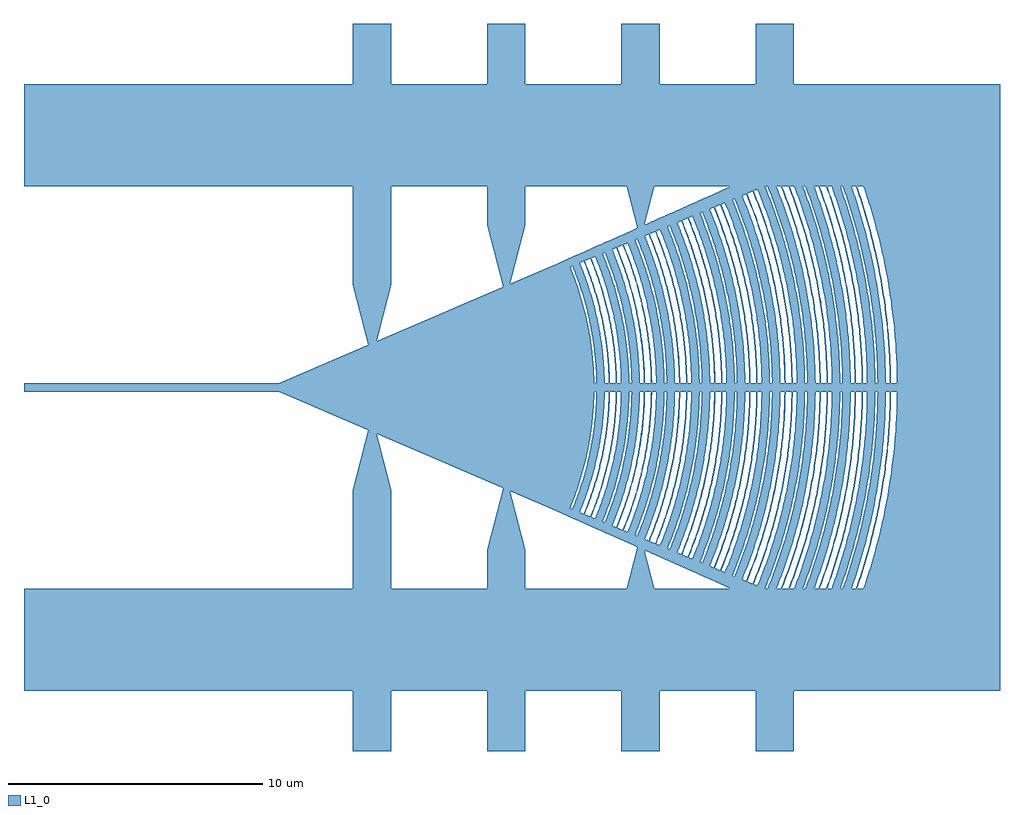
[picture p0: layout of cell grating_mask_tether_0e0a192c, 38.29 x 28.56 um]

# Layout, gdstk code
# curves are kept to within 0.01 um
import gdstk
lib = gdstk.Library(unit=1e-6, precision=1e-09)
def R(c, l, rs):  # rectangles x0, y0, x1, y1
    for r in rs: c.add(gdstk.rectangle(r[:2], r[2:], *l))
def P(c, l, *ps):  # polygons
    for p in ps: c.add(gdstk.Polygon(p, *l))
L1_0 = (1, 0)

compass_size13p289__0p3_ = lib.new_cell('compass_size13p289__0p3_6fe351eb')
R(compass_size13p289__0p3_, L1_0, [(0,0,13.289,0.35)])

rectangle_size13p289__0p = lib.new_cell('rectangle_size13p289__0p35')
rectangle_size13p289__0p.add(gdstk.Reference(compass_size13p289__0p3_, (0,0)))

boolean_9d760fdb = lib.new_cell('boolean_9d760fdb')
P(boolean_9d760fdb, L1_0, [(18.02,-7.898),(18.409,-6.944),(18.747,-5.971),(19.034,-4.982),(19.291,-3.866),(19.467,-2.852),(19.59,-1.829),(19.663,-0.687),(19.672,0.343),(19.619,1.487),(19.499,2.625),(19.291,3.866),(19.034,4.982),(18.815,5.752),(18.603,6.405),(18.327,7.158),(18.018,7.903),(17.751,7.903),(17.677,7.87),(18.105,6.829),(18.403,5.979),(18.661,5.117),(18.927,4.023),(19.094,3.138),(19.232,2.135),(19.303,1.35),(19.347,0.338),(19.334,-0.788),(19.266,-1.798),(19.129,-2.916),(18.95,-3.913),(18.719,-4.899),(18.403,-5.979),(18.105,-6.829),(17.677,-7.87),(17.751,-7.903)],
  [(18.251,-7.873),(18.43,-7.446),(18.598,-7.015),(18.756,-6.581),(18.904,-6.142),(19.075,-5.59),(19.2,-5.144),(19.341,-4.584),(19.443,-4.133),(19.555,-3.565),(19.614,-3.224),(19.699,-2.652),(19.756,-2.193),(19.811,-1.617),(19.85,-1.04),(19.872,-0.462),(19.877,0),(19.872,0.462),(19.85,1.04),(19.811,1.617),(19.756,2.193),(19.699,2.652),(19.614,3.224),(19.555,3.565),(19.443,4.133),(19.341,4.584),(19.2,5.144),(19.042,5.701),(18.868,6.252),(18.678,6.798),(18.43,7.446),(18.238,7.903),(18.194,7.903),(18.349,7.538),(18.601,6.893),(18.756,6.458),(18.936,5.91),(19.1,5.357),(19.248,4.799),(19.427,4.011),(19.536,3.445),(19.593,3.103),(19.675,2.532),(19.728,2.074),(19.771,1.614),(19.81,1.038),(19.829,0.577),(19.837,0.115),(19.832,-0.462),(19.81,-1.038),(19.789,-1.384),(19.74,-1.959),(19.675,-2.532),(19.593,-3.103),(19.536,-3.445),(19.45,-3.898),(19.354,-4.35),(19.248,-4.799),(19.131,-5.245),(19.004,-5.689),(18.83,-6.24),(18.601,-6.893),(18.349,-7.538),(18.194,-7.903),(18.238,-7.903)],
  [(18.551,-7.874),(18.686,-7.55),(18.898,-7.003),(19.093,-6.45),(19.273,-5.892),(19.405,-5.442),(19.555,-4.876),(19.637,-4.534),(19.737,-4.075),(19.847,-3.5),(19.923,-3.037),(20.003,-2.456),(20.055,-1.99),(20.096,-1.523),(20.132,-0.938),(20.148,-0.469),(20.153,0.117),(20.145,0.586),(20.126,1.055),(20.087,1.64),(20.043,2.107),(19.973,2.689),(19.887,3.268),(19.805,3.73),(19.713,4.19),(19.583,4.762),(19.467,5.216),(19.307,5.78),(19.167,6.228),(18.898,7.003),(18.686,7.55),(18.539,7.903),(18.495,7.903),(18.649,7.535),(18.86,6.989),(19.018,6.548),(19.165,6.104),(19.302,5.656),(19.458,5.093),(19.598,4.525),(19.698,4.067),(19.808,3.493),(19.866,3.146),(19.934,2.683),(19.991,2.219),(20.047,1.636),(20.086,1.053),(20.105,0.585),(20.113,0.117),(20.112,-0.234),(20.097,-0.819),(20.072,-1.286),(20.037,-1.753),(19.991,-2.219),(19.934,-2.683),(19.847,-3.262),(19.744,-3.838),(19.674,-4.182),(19.544,-4.752),(19.428,-5.206),(19.302,-5.656),(19.129,-6.215),(18.94,-6.769),(18.735,-7.317),(18.495,-7.903),(18.539,-7.903)],
  [(19.092,-7.843),(19.437,-6.947),(19.808,-5.805),(20.084,-4.76),(20.306,-3.702),(20.472,-2.635),(20.582,-1.56),(20.632,-0.6),(20.635,0.48),(20.582,1.56),(20.515,2.277),(20.44,2.873),(20.238,4.056),(19.968,5.226),(19.808,5.805),(19.555,6.606),(19.27,7.397),(19.067,7.903),(18.715,7.903),(19.05,7.059),(19.393,6.053),(19.623,5.258),(19.847,4.339),(20.027,3.411),(20.164,2.476),(20.266,1.417),(20.31,0.473),(20.307,-0.591),(20.248,-1.653),(20.118,-2.827),(19.942,-3.876),(19.712,-4.915),(19.428,-5.94),(19.05,-7.059),(18.715,-7.903),(19.067,-7.903)],
  [(19.52,-7.887),(19.866,-6.97),(20.204,-5.921),(20.486,-4.855),(20.69,-3.897),(20.849,-2.93),(20.984,-1.713),(21.041,-0.735),(21.048,0.49),(20.984,1.713),(20.849,2.93),(20.667,4.017),(20.398,5.212),(20.204,5.921),(19.985,6.622),(19.742,7.316),(19.514,7.903),(19.162,7.903),(19.519,6.976),(19.823,6.06),(20.113,5.015),(20.3,4.192),(20.473,3.243),(20.602,2.287),(20.678,1.446),(20.723,0.482),(20.716,-0.723),(20.66,-1.686),(20.527,-2.885),(20.37,-3.837),(20.113,-5.015),(19.892,-5.829),(19.519,-6.976),(19.162,-7.903),(19.514,-7.903)],
  [(19.754,-7.848),(19.888,-7.502),(20.057,-7.037),(20.253,-6.451),(20.398,-5.978),(20.563,-5.382),(20.683,-4.902),(20.791,-4.419),(20.911,-3.813),(21.013,-3.203),(21.082,-2.713),(21.126,-2.345),(21.175,-1.852),(21.212,-1.359),(21.238,-0.865),(21.25,-0.495),(21.255,0.124),(21.25,0.495),(21.226,1.112),(21.195,1.606),(21.152,2.099),(21.082,2.713),(21.013,3.203),(20.933,3.691),(20.841,4.177),(20.711,4.781),(20.594,5.262),(20.466,5.74),(20.327,6.214),(20.177,6.686),(20.057,7.037),(19.888,7.502),(19.731,7.903),(19.688,7.903),(19.85,7.488),(20.06,6.907),(20.252,6.321),(20.394,5.848),(20.524,5.372),(20.644,4.893),(20.726,4.532),(20.826,4.048),(20.935,3.441),(21.009,2.953),(21.072,2.463),(21.112,2.095),(21.164,1.48),(21.193,0.987),(21.207,0.617),(21.215,0.123),(21.21,-0.494),(21.193,-0.987),(21.164,-1.48),(21.124,-1.972),(21.072,-2.463),(21.009,-2.953),(20.935,-3.441),(20.849,-3.927),(20.752,-4.411),(20.644,-4.893),(20.524,-5.372),(20.394,-5.848),(20.252,-6.321),(20.06,-6.907),(19.85,-7.488),(19.688,-7.903),(19.731,-7.903)],
  [(20.056,-7.833),(20.19,-7.482),(20.399,-6.892),(20.554,-6.415),(20.698,-5.935),(20.862,-5.331),(20.98,-4.844),(21.087,-4.354),(21.183,-3.862),(21.267,-3.368),(21.356,-2.748),(21.401,-2.375),(21.45,-1.877),(21.488,-1.377),(21.509,-1.002),(21.529,-0.376),(21.532,0.125),(21.523,0.626),(21.509,1.002),(21.47,1.627),(21.427,2.126),(21.356,2.748),(21.305,3.121),(21.205,3.739),(21.112,4.231),(21.008,4.721),(20.862,5.331),(20.732,5.815),(20.591,6.295),(20.359,7.01),(20.102,7.716),(20.029,7.903),(19.986,7.903),(20.153,7.468),(20.321,6.997),(20.516,6.403),(20.625,6.044),(20.792,5.442),(20.913,4.956),(20.996,4.591),(21.097,4.101),(21.187,3.609),(21.247,3.239),(21.332,2.619),(21.387,2.122),(21.421,1.749),(21.456,1.25),(21.479,0.75),(21.492,0.125),(21.489,-0.375),(21.479,-0.75),(21.456,-1.25),(21.421,-1.749),(21.361,-2.371),(21.3,-2.867),(21.247,-3.239),(21.143,-3.855),(21.073,-4.224),(20.969,-4.713),(20.823,-5.321),(20.727,-5.683),(20.553,-6.284),(20.401,-6.76),(20.196,-7.351),(19.986,-7.903),(20.029,-7.903)],
  [(20.557,-7.891),(20.902,-6.926),(21.201,-5.946),(21.455,-4.953),(21.685,-3.824),(21.839,-2.811),(21.956,-1.664),(22.01,-0.64),(22.016,0.384),(21.966,1.536),(21.839,2.811),(21.639,4.076),(21.396,5.203),(21.201,5.946),(20.981,6.682),(20.552,7.903),(20.203,7.903),(20.471,7.182),(20.783,6.222),(21.05,5.248),(21.271,4.263),(21.427,3.394),(21.562,2.393),(21.641,1.513),(21.691,0.379),(21.681,-0.757),(21.622,-1.765),(21.5,-2.894),(21.342,-3.891),(21.138,-4.88),(20.854,-5.98),(20.553,-6.943),(20.203,-7.903),(20.552,-7.903)],
  [(21.034,-7.795),(21.374,-6.808),(21.668,-5.806),(21.942,-4.664),(22.135,-3.638),(22.265,-2.734),(22.368,-1.695),(22.426,-0.522),(22.426,0.522),(22.358,1.825),(22.231,2.993),(22.02,4.28),(21.797,5.3),(21.452,6.559),(21.21,7.303),(20.993,7.903),(20.646,7.903),(20.985,6.954),(21.286,5.97),(21.511,5.098),(21.701,4.218),(21.892,3.077),(21.986,2.311),(22.062,1.414),(22.101,0.514),(22.101,-0.514),(22.044,-1.67),(21.942,-2.694),(21.793,-3.712),(21.597,-4.722),(21.32,-5.846),(20.985,-6.954),(20.646,-7.903),(20.993,-7.903)],
  [(21.224,-7.865),(21.401,-7.369),(21.567,-6.869),(21.721,-6.365),(21.863,-5.858),(21.962,-5.476),(22.112,-4.835),(22.193,-4.448),(22.313,-3.801),(22.376,-3.411),(22.449,-2.889),(22.51,-2.366),(22.559,-1.842),(22.596,-1.316),(22.615,-0.922),(22.631,-0.395),(22.634,0.132),(22.625,0.658),(22.603,1.185),(22.579,1.579),(22.536,2.104),(22.481,2.628),(22.414,3.15),(22.313,3.801),(22.243,4.189),(22.112,4.835),(22.024,5.22),(21.863,5.858),(21.721,6.365),(21.567,6.869),(21.314,7.617),(21.209,7.903),(21.167,7.903),(21.32,7.48),(21.488,6.982),(21.645,6.48),(21.79,5.975),(21.891,5.593),(22.015,5.083),(22.127,4.569),(22.228,4.053),(22.356,3.275),(22.426,2.754),(22.484,2.231),(22.539,1.576),(22.57,1.051),(22.585,0.657),(22.594,0.131),(22.591,-0.394),(22.57,-1.051),(22.548,-1.445),(22.508,-1.969),(22.456,-2.492),(22.392,-3.014),(22.316,-3.534),(22.251,-3.923),(22.179,-4.311),(22.073,-4.826),(21.985,-5.211),(21.858,-5.721),(21.719,-6.228),(21.568,-6.731),(21.363,-7.356),(21.167,-7.903),(21.209,-7.903)],
  [(21.529,-7.836),(21.705,-7.333),(21.83,-6.953),(21.986,-6.443),(22.13,-5.93),(22.262,-5.413),(22.353,-5.024),(22.464,-4.502),(22.539,-4.11),(22.649,-3.452),(22.706,-3.057),(22.756,-2.66),(22.811,-2.13),(22.855,-1.598),(22.886,-1.066),(22.901,-0.666),(22.911,0),(22.901,0.666),(22.886,1.066),(22.855,1.598),(22.811,2.13),(22.756,2.66),(22.706,3.057),(22.607,3.716),(22.515,4.241),(22.41,4.763),(22.293,5.283),(22.164,5.801),(22.023,6.315),(21.83,6.953),(21.619,7.585),(21.504,7.903),(21.461,7.903),(21.581,7.572),(21.792,6.941),(21.91,6.559),(22.056,6.048),(22.191,5.533),(22.314,5.015),(22.425,4.494),(22.5,4.102),(22.568,3.709),(22.648,3.183),(22.716,2.655),(22.759,2.258),(22.815,1.595),(22.846,1.064),(22.861,0.665),(22.87,0.133),(22.867,-0.399),(22.852,-0.931),(22.824,-1.463),(22.795,-1.861),(22.759,-2.258),(22.7,-2.787),(22.629,-3.315),(22.546,-3.84),(22.45,-4.364),(22.371,-4.755),(22.191,-5.533),(22.021,-6.176),(21.832,-6.814),(21.71,-7.194),(21.461,-7.903),(21.504,-7.903)],
  [(22.033,-7.874),(22.415,-6.711),(22.703,-5.66),(22.914,-4.731),(23.11,-3.66),(23.255,-2.581),(23.35,-1.496),(23.394,-0.408),(23.388,0.68),(23.309,2.039),(23.189,3.122),(23.018,4.197),(22.767,5.396),(22.415,6.711),(22.022,7.903),(21.677,7.903),(22.025,6.874),(22.251,6.101),(22.451,5.321),(22.649,4.402),(22.789,3.609),(22.932,2.545),(23.007,1.743),(23.063,0.671),(23.069,-0.403),(23.025,-1.475),(22.932,-2.545),(22.789,-3.609),(22.596,-4.666),(22.321,-5.842),(22.025,-6.874),(21.677,-7.903),(22.022,-7.903)],
  [(22.468,-7.883),(22.85,-6.696),(23.103,-5.76),(23.319,-4.815),(23.539,-3.588),(23.68,-2.489),(23.762,-1.523),(23.807,-0.416),(23.804,0.554),(23.753,1.661),(23.616,3.039),(23.449,4.135),(23.319,4.815),(23.169,5.491),(22.85,6.696),(22.46,7.903),(22.116,7.903),(22.419,6.997),(22.685,6.078),(22.914,5.15),(23.105,4.213),(23.276,3.133),(23.371,2.319),(23.446,1.366),(23.479,0.546),(23.479,-0.546),(23.428,-1.638),(23.327,-2.727),(23.175,-3.809),(22.972,-4.883),(22.72,-5.946),(22.419,-6.997),(22.116,-7.903),(22.46,-7.903)],
  [(22.704,-7.818),(22.88,-7.287),(23.004,-6.887),(23.158,-6.35),(23.265,-5.945),(23.397,-5.402),(23.488,-4.993),(23.598,-4.445),(23.672,-4.032),(23.759,-3.48),(23.834,-2.926),(23.881,-2.51),(23.933,-1.954),(23.972,-1.396),(23.993,-0.978),(24.009,-0.419),(24.013,0),(24.003,0.698),(23.987,1.117),(23.954,1.675),(23.909,2.232),(23.866,2.649),(23.798,3.203),(23.717,3.756),(23.648,4.17),(23.544,4.719),(23.428,5.266),(23.333,5.674),(23.158,6.35),(23.004,6.887),(22.75,7.685),(22.675,7.903),(22.632,7.903),(22.756,7.541),(22.966,6.875),(23.192,6.07),(23.326,5.529),(23.449,4.984),(23.532,4.574),(23.632,4.025),(23.699,3.612),(23.777,3.06),(23.856,2.367),(23.893,1.95),(23.932,1.394),(23.953,0.976),(23.969,0.418),(23.973,0),(23.969,-0.418),(23.953,-0.976),(23.904,-1.811),(23.856,-2.367),(23.811,-2.783),(23.777,-3.06),(23.678,-3.75),(23.584,-4.3),(23.505,-4.711),(23.389,-5.257),(23.294,-5.664),(23.156,-6.205),(22.966,-6.875),(22.756,-7.541),(22.632,-7.903),(22.675,-7.903)],
  [(22.928,7.895),(23.23,6.955),(23.529,5.866),(23.748,4.904),(23.928,3.933),(24.051,3.095),(24.169,1.973),(24.229,0.987),(24.249,-0.141),(24.223,-1.128),(24.157,-2.113),(24.051,-3.095),(23.905,-4.072),(23.719,-5.042),(23.459,-6.14),(23.19,-7.09),(22.925,-7.903),(24.289,-7.903),(24.289,7.903)],
  [(17.642,-7.732),(17.983,-6.903),(18.354,-5.846),(18.606,-4.985),(18.864,-3.895),(19.059,-2.792),(19.168,-1.902),(19.236,-1.008),(19.262,0.112),(19.236,1.008),(19.132,2.236),(19.007,3.124),(18.841,4.005),(18.606,4.985),(18.354,5.846),(17.983,6.903),(17.597,7.834),(17.3,7.702),(17.679,6.786),(17.976,5.956),(18.263,5.008),(18.5,4.045),(18.668,3.18),(18.809,2.198),(18.905,1.101),(18.937,0.11),(18.921,-0.771),(18.855,-1.76),(18.721,-2.853),(18.546,-3.829),(18.32,-4.795),(18.044,-5.747),(17.679,-6.786),(17.3,-7.702),(17.597,-7.834)],
  [(17.196,-7.536),(17.408,-7.033),(17.567,-6.626),(17.68,-6.319),(17.856,-5.802),(18.017,-5.28),(18.163,-4.754),(18.269,-4.33),(18.387,-3.797),(18.47,-3.368),(18.544,-2.937),(18.607,-2.505),(18.672,-1.963),(18.713,-1.528),(18.749,-0.983),(18.77,-0.437),(18.775,0),(18.77,0.437),(18.749,0.983),(18.713,1.528),(18.672,1.963),(18.607,2.505),(18.544,2.937),(18.47,3.368),(18.387,3.797),(18.269,4.33),(18.163,4.754),(18.017,5.28),(17.856,5.802),(17.68,6.319),(17.528,6.728),(17.325,7.235),(17.152,7.636),(17.115,7.62),(17.288,7.22),(17.529,6.612),(17.714,6.099),(17.884,5.582),(18.039,5.059),(18.152,4.638),(18.279,4.108),(18.348,3.788),(18.431,3.36),(18.521,2.823),(18.582,2.391),(18.632,1.958),(18.673,1.524),(18.709,0.98),(18.73,0.436),(18.735,0),(18.73,-0.436),(18.709,-0.98),(18.673,-1.524),(18.632,-1.958),(18.582,-2.391),(18.521,-2.823),(18.431,-3.36),(18.348,-3.788),(18.279,-4.108),(18.152,-4.638),(18.039,-5.059),(17.884,-5.582),(17.714,-6.099),(17.529,-6.612),(17.288,-7.22),(17.115,-7.62),(17.152,-7.636)],
  [(16.943,-7.426),(17.111,-7.029),(17.308,-6.529),(17.491,-6.022),(17.626,-5.614),(17.782,-5.099),(17.896,-4.684),(18,-4.266),(18.138,-3.635),(18.236,-3.106),(18.303,-2.681),(18.347,-2.361),(18.408,-1.826),(18.453,-1.29),(18.478,-0.861),(18.493,-0.43),(18.498,0.108),(18.487,0.646),(18.473,0.968),(18.437,1.505),(18.397,1.934),(18.333,2.468),(18.271,2.894),(18.179,3.424),(18.094,3.846),(18,4.266),(17.896,4.684),(17.752,5.202),(17.593,5.716),(17.419,6.226),(17.27,6.629),(17.07,7.129),(16.899,7.524),(16.863,7.508),(17.074,7.014),(17.271,6.514),(17.453,6.009),(17.588,5.602),(17.773,4.985),(17.857,4.674),(17.961,4.257),(18.055,3.838),(18.159,3.311),(18.231,2.888),(18.279,2.569),(18.346,2.036),(18.388,1.609),(18.421,1.18),(18.451,0.537),(18.458,0.107),(18.456,-0.322),(18.443,-0.752),(18.421,-1.18),(18.368,-1.823),(18.321,-2.25),(18.248,-2.781),(18.159,-3.311),(18.077,-3.733),(17.961,-4.257),(17.884,-4.57),(17.773,-4.985),(17.652,-5.397),(17.453,-6.009),(17.271,-6.514),(17.074,-7.014),(16.863,-7.508),(16.899,-7.524)],
  [(16.757,-7.344),(17.081,-6.557),(17.401,-5.654),(17.7,-4.633),(17.918,-3.7),(18.071,-2.862),(18.207,-1.807),(18.281,-0.745),(18.296,0.106),(18.271,0.957),(18.196,1.912),(18.071,2.862),(17.874,3.908),(17.673,4.735),(17.401,5.654),(17.043,6.656),(16.714,7.442),(16.417,7.31),(16.74,6.538),(17.059,5.653),(17.359,4.651),(17.556,3.839),(17.716,3.018),(17.85,2.086),(17.941,1.045),(17.971,0.105),(17.952,-0.836),(17.873,-1.878),(17.75,-2.811),(17.6,-3.634),(17.359,-4.651),(17.059,-5.653),(16.74,-6.538),(16.417,-7.31),(16.714,-7.442)],
  [(16.379,-7.179),(16.733,-6.312),(17.04,-5.427),(17.301,-4.528),(17.514,-3.616),(17.695,-2.592),(17.796,-1.766),(17.869,-0.728),(17.883,0.104),(17.847,1.144),(17.774,1.973),(17.647,2.9),(17.471,3.82),(17.247,4.729),(16.976,5.625),(16.658,6.506),(16.337,7.274),(16.04,7.142),(16.392,6.292),(16.699,5.426),(16.96,4.544),(17.175,3.651),(17.326,2.848),(17.451,1.937),(17.529,1.021),(17.558,0.102),(17.529,-1.021),(17.462,-1.835),(17.358,-2.646),(17.175,-3.651),(16.96,-4.544),(16.699,-5.426),(16.392,-6.292),(16.04,-7.142),(16.337,-7.274)],
  [(15.933,-6.983),(16.053,-6.704),(16.277,-6.14),(16.448,-5.664),(16.576,-5.279),(16.75,-4.698),(16.855,-4.307),(16.973,-3.815),(17.037,-3.518),(17.132,-3.021),(17.198,-2.621),(17.267,-2.12),(17.311,-1.718),(17.354,-1.213),(17.382,-0.708),(17.395,-0.202),(17.396,0.101),(17.386,0.607),(17.361,1.113),(17.321,1.617),(17.279,2.02),(17.213,2.521),(17.166,2.821),(17.096,3.22),(16.995,3.716),(16.904,4.11),(16.777,4.6),(16.694,4.892),(16.545,5.376),(16.381,5.855),(16.241,6.234),(16.053,6.704),(15.892,7.076),(15.856,7.059),(16.016,6.689),(16.275,6.031),(16.411,5.651),(16.568,5.171),(16.684,4.784),(16.791,4.394),(16.888,4.003),(16.998,3.51),(17.075,3.113),(17.158,2.615),(17.227,2.115),(17.261,1.814),(17.299,1.412),(17.327,1.009),(17.346,0.606),(17.356,0.101),(17.354,-0.303),(17.342,-0.707),(17.321,-1.11),(17.281,-1.613),(17.239,-2.015),(17.173,-2.516),(17.11,-2.914),(17.018,-3.411),(16.934,-3.806),(16.841,-4.199),(16.738,-4.59),(16.598,-5.074),(16.411,-5.651),(16.275,-6.031),(16.016,-6.689),(15.856,-7.059),(15.892,-7.076)],
  [(15.68,-6.872),(15.836,-6.505),(15.983,-6.135),(16.121,-5.762),(16.282,-5.29),(16.429,-4.815),(16.562,-4.335),(16.635,-4.045),(16.746,-3.559),(16.824,-3.169),(16.909,-2.678),(16.967,-2.284),(17.026,-1.79),(17.055,-1.492),(17.091,-0.995),(17.115,-0.398),(17.12,0),(17.115,0.398),(17.091,0.995),(17.055,1.492),(17.026,1.79),(16.967,2.284),(16.909,2.678),(16.824,3.169),(16.746,3.559),(16.681,3.851),(16.562,4.335),(16.429,4.815),(16.282,5.29),(16.121,5.762),(15.983,6.135),(15.836,6.505),(15.64,6.963),(15.603,6.947),(15.836,6.398),(15.981,6.028),(16.117,5.655),(16.304,5.089),(16.418,4.708),(16.523,4.325),(16.642,3.842),(16.727,3.454),(16.803,3.064),(16.885,2.574),(16.94,2.18),(16.986,1.785),(17.015,1.489),(17.051,0.993),(17.073,0.497),(17.08,0),(17.073,-0.497),(17.061,-0.795),(17.045,-1.092),(17.006,-1.588),(16.94,-2.18),(16.885,-2.574),(16.803,-3.064),(16.747,-3.356),(16.686,-3.648),(16.572,-4.132),(16.472,-4.517),(16.362,-4.899),(16.213,-5.372),(16.05,-5.842),(15.836,-6.398),(15.603,-6.947),(15.64,-6.963)],
  [(15.495,-6.791),(15.794,-6.063),(16.09,-5.228),(16.341,-4.379),(16.548,-3.517),(16.694,-2.744),(16.825,-1.768),(16.889,-0.984),(16.918,0),(16.889,0.984),(16.825,1.768),(16.694,2.744),(16.548,3.517),(16.341,4.379),(16.09,5.228),(15.794,6.063),(15.455,6.881),(15.158,6.749),(15.525,5.856),(15.81,5.035),(16.052,4.201),(16.23,3.45),(16.373,2.691),(16.502,1.734),(16.57,0.868),(16.593,0),(16.57,-0.868),(16.502,-1.734),(16.373,-2.691),(16.23,-3.45),(16.052,-4.201),(15.81,-5.035),(15.525,-5.856),(15.158,-6.749),(15.455,-6.881)],
  [(15.117,-6.625),(15.443,-5.825),(15.726,-5.009),(15.967,-4.179),(16.164,-3.338),(16.316,-2.487),(16.424,-1.63),(16.487,-0.768),(16.505,0.096),(16.477,0.96),(16.404,1.821),(16.286,2.677),(16.124,3.525),(15.892,4.457),(15.667,5.192),(15.374,6.004),(15.078,6.713),(14.781,6.581),(15.105,5.798),(15.388,5),(15.604,4.278),(15.826,3.364),(15.995,2.438),(16.091,1.691),(16.162,0.753),(16.18,0),(16.162,-0.753),(16.091,-1.691),(15.995,-2.438),(15.826,-3.364),(15.604,-4.278),(15.388,-5),(15.105,-5.798),(14.781,-6.581),(15.078,-6.713)],
  [(14.67,-6.43),(14.816,-6.087),(14.954,-5.74),(15.083,-5.391),(15.234,-4.95),(15.345,-4.594),(15.496,-4.056),(15.586,-3.694),(15.687,-3.239),(15.758,-2.873),(15.835,-2.414),(15.887,-2.045),(15.93,-1.674),(15.972,-1.21),(15.996,-0.838),(16.011,-0.466),(16.018,0),(16.011,0.466),(15.996,0.838),(15.972,1.21),(15.93,1.674),(15.887,2.045),(15.835,2.414),(15.758,2.873),(15.687,3.239),(15.586,3.694),(15.496,4.056),(15.345,4.594),(15.234,4.95),(15.083,5.391),(14.954,5.74),(14.816,6.087),(14.633,6.515),(14.596,6.499),(14.744,6.157),(14.982,5.552),(15.077,5.29),(15.252,4.76),(15.359,4.404),(15.457,4.045),(15.589,3.504),(15.666,3.14),(15.751,2.683),(15.809,2.316),(15.9,1.578),(15.939,1.115),(15.956,0.836),(15.971,0.465),(15.978,0),(15.971,-0.465),(15.956,-0.836),(15.939,-1.115),(15.9,-1.578),(15.809,-2.316),(15.751,-2.683),(15.666,-3.14),(15.589,-3.504),(15.503,-3.865),(15.333,-4.493),(15.167,-5.026),(15.014,-5.465),(14.849,-5.899),(14.596,-6.499),(14.633,-6.515)],
  [(14.417,-6.319),(14.595,-5.897),(14.696,-5.641),(14.884,-5.125),(14.999,-4.777),(15.106,-4.427),(15.205,-4.074),(15.317,-3.63),(15.416,-3.183),(15.533,-2.553),(15.588,-2.191),(15.655,-1.645),(15.689,-1.281),(15.715,-0.915),(15.737,-0.366),(15.741,0.092),(15.737,0.366),(15.715,0.915),(15.689,1.281),(15.635,1.827),(15.588,2.191),(15.518,2.643),(15.452,3.004),(15.378,3.362),(15.317,3.63),(15.181,4.163),(15.08,4.515),(14.971,4.864),(14.823,5.298),(14.663,5.727),(14.38,6.403),(14.344,6.386),(14.558,5.882),(14.723,5.456),(14.846,5.112),(15.015,4.591),(15.118,4.24),(15.235,3.798),(15.377,3.175),(15.463,2.727),(15.522,2.366),(15.573,2.004),(15.615,1.641),(15.649,1.277),(15.68,0.822),(15.692,0.548),(15.701,0.091),(15.699,-0.274),(15.684,-0.731),(15.663,-1.095),(15.633,-1.459),(15.573,-2.004),(15.522,-2.366),(15.463,-2.727),(15.395,-3.086),(15.257,-3.71),(15.166,-4.064),(15.042,-4.503),(14.904,-4.939),(14.723,-5.456),(14.558,-5.882),(14.344,-6.386),(14.38,-6.403)],
  [(14.232,-6.238),(14.507,-5.569),(14.779,-4.802),(15.01,-4.022),(15.218,-3.142),(15.362,-2.341),(15.472,-1.444),(15.53,-0.542),(15.539,0.09),(15.513,0.904),(15.454,1.624),(15.348,2.431),(15.199,3.231),(15.01,4.022),(14.779,4.802),(14.507,5.569),(14.196,6.32),(13.899,6.188),(14.171,5.535),(14.442,4.785),(14.696,3.938),(14.863,3.25),(15.013,2.467),(15.131,1.59),(15.193,0.796),(15.214,0.089),(15.193,-0.796),(15.131,-1.59),(15.027,-2.38),(14.9,-3.077),(14.696,-3.938),(14.442,-4.785),(14.171,-5.535),(13.899,-6.188),(14.196,-6.32)],
  [(13.854,-6.072),(14.153,-5.339),(14.413,-4.591),(14.611,-3.915),(14.814,-3.059),(14.94,-2.366),(15.061,-1.406),(15.114,-0.616),(15.126,0.088),(15.101,0.88),(15.034,1.669),(14.926,2.453),(14.796,3.145),(14.611,3.915),(14.413,4.591),(14.122,5.421),(13.818,6.152),(13.521,6.02),(13.849,5.224),(14.077,4.574),(14.297,3.831),(14.478,3.077),(14.619,2.315),(14.711,1.633),(14.771,0.947),(14.801,0.086),(14.781,-0.775),(14.729,-1.461),(14.619,-2.315),(14.478,-3.077),(14.297,-3.831),(14.077,-4.574),(13.849,-5.224),(13.521,-6.02),(13.818,-6.152)],
  [(13.408,-5.876),(13.541,-5.563),(13.667,-5.246),(13.785,-4.927),(13.949,-4.443),(14.072,-4.035),(14.162,-3.706),(14.264,-3.293),(14.337,-2.96),(14.417,-2.542),(14.472,-2.206),(14.53,-1.784),(14.576,-1.361),(14.609,-0.936),(14.627,-0.596),(14.637,-0.255),(14.639,0.085),(14.633,0.426),(14.619,0.766),(14.597,1.106),(14.55,1.615),(14.459,2.29),(14.386,2.71),(14.319,3.044),(14.225,3.459),(14.14,3.789),(14.024,4.199),(13.923,4.524),(13.785,4.927),(13.667,5.246),(13.541,5.563),(13.373,5.954),(13.337,5.938),(13.504,5.548),(13.66,5.152),(13.804,4.753),(13.936,4.349),(14.057,3.942),(14.145,3.614),(14.28,3.035),(14.347,2.702),(14.406,2.368),(14.457,2.032),(14.51,1.61),(14.551,1.188),(14.579,0.764),(14.593,0.425),(14.599,0.085),(14.597,-0.255),(14.587,-0.594),(14.569,-0.934),(14.536,-1.357),(14.49,-1.779),(14.445,-2.116),(14.331,-2.786),(14.186,-3.449),(14.102,-3.778),(13.986,-4.187),(13.804,-4.753),(13.66,-5.152),(13.504,-5.548),(13.337,-5.938),(13.373,-5.954)],
  [(13.155,-5.765),(13.317,-5.38),(13.468,-4.991),(13.685,-4.359),(13.783,-4.039),(13.895,-3.637),(14.013,-3.149),(14.083,-2.823),(14.159,-2.412),(14.223,-1.999),(14.275,-1.584),(14.308,-1.252),(14.351,-0.585),(14.362,-0.167),(14.362,0.167),(14.351,0.585),(14.333,0.919),(14.308,1.252),(14.275,1.584),(14.186,2.247),(14.13,2.576),(14.049,2.986),(13.895,3.637),(13.783,4.039),(13.66,4.438),(13.553,4.755),(13.409,5.147),(13.285,5.458),(13.121,5.842),(13.084,5.825),(13.28,5.365),(13.401,5.055),(13.596,4.505),(13.697,4.187),(13.877,3.546),(14.027,2.896),(14.105,2.487),(14.159,2.158),(14.216,1.745),(14.253,1.414),(14.303,0.75),(14.319,0.333),(14.323,0),(14.319,-0.333),(14.303,-0.75),(14.253,-1.414),(14.216,-1.745),(14.159,-2.158),(14.105,-2.487),(14.027,-2.896),(13.877,-3.546),(13.697,-4.187),(13.596,-4.505),(13.401,-5.055),(13.28,-5.365),(13.084,-5.825),(13.121,-5.842)],
  [(12.969,-5.684),(13.22,-5.075),(13.493,-4.297),(13.72,-3.506),(13.868,-2.864),(14.023,-1.971),(14.107,-1.234),(14.149,-0.577),(14.16,0.165),(14.126,0.988),(14.065,1.644),(13.973,2.296),(13.834,3.025),(13.678,3.665),(13.442,4.454),(13.22,5.075),(12.936,5.76),(12.639,5.627),(12.858,5.108),(13.133,4.352),(13.343,3.658),(13.499,3.034),(13.639,2.323),(13.742,1.606),(13.812,0.804),(13.835,0.081),(13.824,-0.563),(13.76,-1.446),(13.665,-2.164),(13.533,-2.876),(13.385,-3.503),(13.183,-4.199),(12.945,-4.883),(12.639,-5.627),(12.936,-5.76)],
  [(12.591,-5.519),(12.863,-4.852),(13.075,-4.248),(13.3,-3.481),(13.464,-2.78),(13.566,-2.23),(13.664,-1.517),(13.729,-0.72),(13.748,0),(13.729,0.72),(13.664,1.517),(13.566,2.23),(13.464,2.78),(13.3,3.481),(13.075,4.248),(12.806,5.001),(12.559,5.592),(12.262,5.459),(12.503,4.883),(12.766,4.148),(12.945,3.549),(13.113,2.867),(13.245,2.177),(13.332,1.558),(13.4,0.78),(13.422,0.078),(13.408,-0.625),(13.357,-1.325),(13.269,-2.023),(13.129,-2.791),(12.945,-3.549),(12.766,-4.148),(12.503,-4.883),(12.262,-5.459),(12.559,-5.592)],
  [(12.145,-5.323),(12.38,-4.752),(12.513,-4.39),(12.635,-4.024),(12.747,-3.655),(12.848,-3.283),(12.938,-2.908),(13.002,-2.606),(13.109,-1.998),(13.152,-1.693),(13.196,-1.309),(13.228,-0.925),(13.246,-0.617),(13.26,-0.154),(13.26,0.154),(13.238,0.771),(13.21,1.156),(13.171,1.539),(13.085,2.151),(13.017,2.53),(12.938,2.908),(12.848,3.283),(12.768,3.581),(12.681,3.877),(12.563,4.244),(12.461,4.535),(12.324,4.896),(12.114,5.394),(12.077,5.377),(12.229,5.024),(12.397,4.594),(12.525,4.231),(12.643,3.865),(12.75,3.496),(12.828,3.198),(12.963,2.598),(13.02,2.296),(13.081,1.916),(13.156,1.305),(13.198,0.769),(13.215,0.384),(13.22,0.077),(13.217,-0.308),(13.206,-0.615),(13.183,-0.999),(13.156,-1.305),(13.081,-1.916),(12.978,-2.523),(12.899,-2.899),(12.828,-3.198),(12.665,-3.792),(12.525,-4.231),(12.397,-4.594),(12.229,-5.024),(12.077,-5.377),(12.114,-5.394)],
  [(11.892,-5.212),(12.122,-4.653),(12.277,-4.227),(12.372,-3.94),(12.542,-3.36),(12.634,-2.994),(12.716,-2.626),(12.787,-2.255),(12.836,-1.957),(12.878,-1.657),(12.928,-1.207),(12.97,-0.604),(12.982,-0.227),(12.984,0.075),(12.976,0.453),(12.962,0.755),(12.913,1.357),(12.836,1.957),(12.787,2.255),(12.716,2.626),(12.634,2.994),(12.542,3.36),(12.439,3.724),(12.349,4.012),(12.252,4.298),(12.122,4.653),(11.981,5.004),(11.861,5.281),(11.825,5.265),(11.973,4.919),(12.084,4.639),(12.239,4.214),(12.334,3.928),(12.503,3.35),(12.595,2.985),(12.677,2.618),(12.785,2.025),(12.838,1.652),(12.881,1.278),(12.907,0.978),(12.93,0.602),(12.944,0.075),(12.942,-0.226),(12.93,-0.602),(12.907,-0.978),(12.881,-1.278),(12.838,-1.652),(12.785,-2.025),(12.692,-2.544),(12.629,-2.838),(12.541,-3.204),(12.4,-3.712),(12.263,-4.143),(12.137,-4.498),(11.973,-4.919),(11.825,-5.265),(11.861,-5.281)],
  [(11.707,-5.131),(11.933,-4.581),(12.179,-3.879),(12.327,-3.38),(12.503,-2.658),(12.625,-1.999),(12.712,-1.336),(12.768,-0.595),(12.782,0.074),(12.756,0.817),(12.712,1.336),(12.625,1.999),(12.503,2.658),(12.327,3.38),(12.156,3.95),(11.933,4.581),(11.677,5.199),(11.38,5.067),(11.603,4.532),(11.847,3.849),(12.051,3.154),(12.169,2.661),(12.292,2.02),(12.389,1.302),(12.44,0.652),(12.457,0),(12.44,-0.652),(12.389,-1.302),(12.292,-2.02),(12.169,-2.661),(12.051,-3.154),(11.847,-3.849),(11.603,-4.532),(11.38,-5.067),(11.677,-5.199)],
  [(-10,-0.175),(0,-0.175),(11.3,-5.031),(11.548,-4.433),(11.786,-3.754),(11.966,-3.132),(12.128,-2.431),(12.249,-1.721),(12.322,-1.078),(12.362,-0.432),(12.366,0.288),(12.334,0.935),(12.277,1.507),(12.181,2.148),(12.084,2.642),(11.929,3.271),(11.764,3.822),(11.548,4.433),(11.3,5.031),(0,0.175),(-10,0.175)])

ring_6d62d799_transform_ = lib.new_cell('ring_6d62d799_transform_c9098a48')
P(ring_6d62d799_transform_, L1_0, [(22.189,-9.191),(0,0),(22.189,-9.879)],
  [(22.189,-9.879),(22.44,-9.296),(22.189,-9.191)])

c_ring_6d62d799_transform_ = lib.new_cell('ring_6d62d799_transform_c3718874')
P(c_ring_6d62d799_transform_, L1_0, [(22.189,9.191),(22.189,9.879),(0,0)],
  [(22.44,9.295),(22.189,9.879),(22.189,9.191)])

skeleton_31b32c59 = lib.new_cell('skeleton_31b32c59')
skeleton_31b32c59.add(gdstk.Reference(ring_6d62d799_transform_, (0,0)))
skeleton_31b32c59.add(gdstk.Reference(c_ring_6d62d799_transform_, (0,0)))

c__tether_straight_length_ = lib.new_cell('_tether_straight_length_550ba175')
R(c__tether_straight_length_, L1_0, [(2.904,4.027,4.404,14.279)])
P(c__tether_straight_length_, L1_0, [(3.754,1.527),(4.404,4.027),(2.904,4.027),(3.554,1.527)])

c__tether_straight_length__ = lib.new_cell('_tether_straight_length_b4acca8e')
R(c__tether_straight_length__, L1_0, [(2.904,-14.279,4.404,-4.027)])
P(c__tether_straight_length__, L1_0, [(3.554,-1.527),(2.904,-4.027),(4.404,-4.027),(3.754,-1.527)])

c__tether_straight_length___ = lib.new_cell('_tether_straight_length_8cd188f2')
R(c__tether_straight_length___, L1_0, [(8.169,6.371,9.669,14.279)])
P(c__tether_straight_length___, L1_0, [(9.019,3.871),(9.669,6.371),(8.169,6.371),(8.819,3.871)])

c__tether_straight_length____ = lib.new_cell('_tether_straight_length_2d920b27')
R(c__tether_straight_length____, L1_0, [(8.169,-14.279,9.669,-6.371)])
P(c__tether_straight_length____, L1_0, [(8.819,-3.871),(8.169,-6.371),(9.669,-6.371),(9.019,-3.871)])

c__tether_straight_length_____ = lib.new_cell('_tether_straight_length_42ef60fd')
R(c__tether_straight_length_____, L1_0, [(13.434,8.715,14.934,14.279)])
P(c__tether_straight_length_____, L1_0, [(14.284,6.215),(14.934,8.715),(13.434,8.715),(14.084,6.215)])

c__tether_straight_length______ = lib.new_cell('_tether_straight_length_77878be3')
R(c__tether_straight_length______, L1_0, [(13.434,-14.279,14.934,-8.715)])
P(c__tether_straight_length______, L1_0, [(14.084,-6.215),(13.434,-8.715),(14.934,-8.715),(14.284,-6.215)])

c__tether_straight_length_______ = lib.new_cell('_tether_straight_length_0369c9de')
R(c__tether_straight_length_______, L1_0, [(18.699,11.059,20.199,14.279)])
P(c__tether_straight_length_______, L1_0, [(19.549,8.559),(20.199,11.059),(18.699,11.059),(19.349,8.559)])

c__tether_straight_length________ = lib.new_cell('_tether_straight_length_808159d9')
R(c__tether_straight_length________, L1_0, [(18.699,-14.279,20.199,-11.059)])
P(c__tether_straight_length________, L1_0, [(19.349,-8.559),(18.699,-11.059),(20.199,-11.059),(19.549,-8.559)])

section_tether_fc782751 = lib.new_cell('section_tether_fc782751')
section_tether_fc782751.add(gdstk.Reference(skeleton_31b32c59, (0,0)))
section_tether_fc782751.add(gdstk.Reference(c__tether_straight_length_, (0,0)))
section_tether_fc782751.add(gdstk.Reference(c__tether_straight_length__, (0,0)))
section_tether_fc782751.add(gdstk.Reference(c__tether_straight_length___, (0,0)))
section_tether_fc782751.add(gdstk.Reference(c__tether_straight_length____, (0,0)))
section_tether_fc782751.add(gdstk.Reference(c__tether_straight_length_____, (0,0)))
section_tether_fc782751.add(gdstk.Reference(c__tether_straight_length______, (0,0)))
section_tether_fc782751.add(gdstk.Reference(c__tether_straight_length_______, (0,0)))
section_tether_fc782751.add(gdstk.Reference(c__tether_straight_length________, (0,0)))

boolean_92951987 = lib.new_cell('boolean_92951987')
P(boolean_92951987, L1_0, [(28.289,-11.903),(28.289,11.903),(-10,11.903),(-10,7.903),(24.289,7.903),(24.289,-7.903),(-10,-7.903),(-10,-11.903)])

grating_mask_tether_0e0a = lib.new_cell('grating_mask_tether_0e0a192c')
grating_mask_tether_0e0a.add(gdstk.Reference(rectangle_size13p289__0p, (11,-0.175)))
grating_mask_tether_0e0a.add(gdstk.Reference(boolean_9d760fdb, (0,0)))
grating_mask_tether_0e0a.add(gdstk.Reference(section_tether_fc782751, (0,0)))
grating_mask_tether_0e0a.add(gdstk.Reference(boolean_92951987, (0,0)))

lib.write_gds('grating_mask_tether_0e0a192c.gds')
